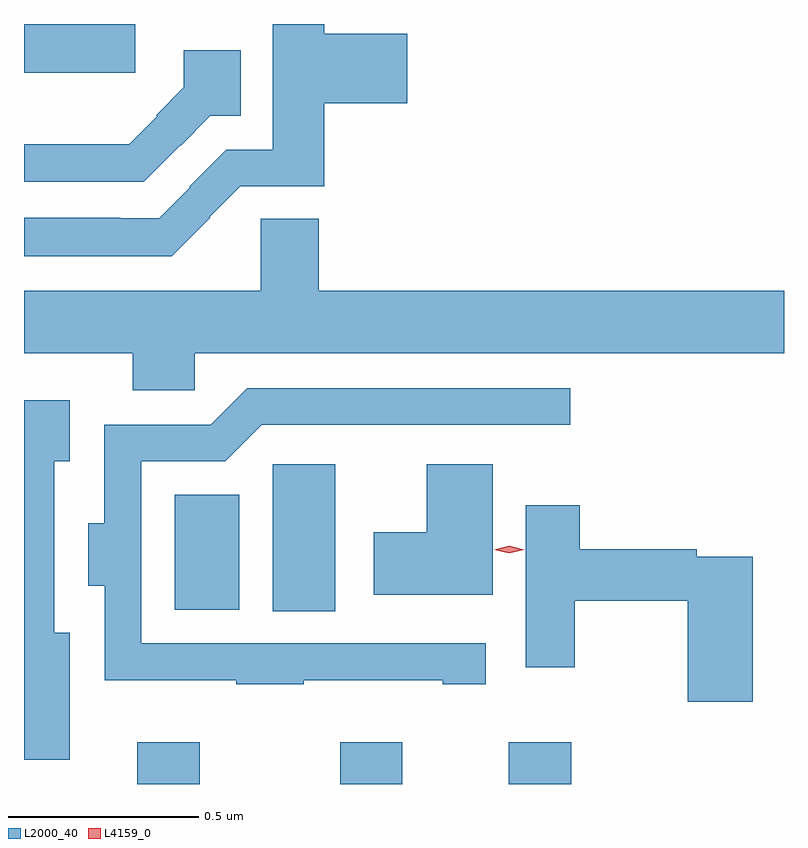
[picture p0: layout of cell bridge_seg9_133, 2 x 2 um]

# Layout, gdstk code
import gdstk
lib = gdstk.Library(unit=1e-6, precision=1e-09)
def R(c, l, rs):  # rectangles x0, y0, x1, y1
    for r in rs: c.add(gdstk.rectangle(r[:2], r[2:], *l))
def P(c, l, *ps):  # polygons
    for p in ps: c.add(gdstk.Polygon(p, *l))
L2000_40 = (2000, 40)
L4159_0 = (4159, 0)

bridge_seg9_133 = lib.new_cell('bridge_seg9_133')
R(bridge_seg9_133, L2000_40, [(492.899,1215.266,493.063,1215.376), (493.433,1215.266,493.597,1215.376), (493.877,1215.266,494.041,1215.376), (493.256,1215.721,493.42,1216.108), (492.998,1215.725,493.168,1216.027), (492.601,1217.138,492.894,1217.266)])
P(bridge_seg9_133, L2000_40, [(493.091,1216.756),(493.089,1216.758),(493.17,1216.839),(493.391,1216.839),(493.391,1217.057),(493.609,1217.057),(493.609,1217.24),(493.391,1217.24),(493.391,1217.266),(493.256,1217.266),(493.256,1216.935),(493.133,1216.935),(493.036,1216.838),(493.038,1216.836),(492.957,1216.755),(492.854,1216.755),(492.854,1216.756),(492.601,1216.756),(492.601,1216.655),(492.99,1216.655)],
  [(493.012,1216.947),(493.013,1216.946),(493.091,1217.024),(493.171,1217.024),(493.171,1217.197),(493.022,1217.197),(493.022,1217.099),(492.949,1217.026),(492.952,1217.023),(492.878,1216.949),(492.601,1216.949),(492.601,1216.851),(492.916,1216.851)],
  [(493.05,1216.4),(494.601,1216.4),(494.601,1216.564),(493.376,1216.564),(493.376,1216.754),(493.224,1216.754),(493.224,1216.564),(492.601,1216.564),(492.601,1216.4),(492.887,1216.4),(492.887,1216.302),(493.05,1216.302)],
  [(493.337,1215.539),(493.703,1215.539),(493.703,1215.528),(493.816,1215.528),(493.816,1215.636),(492.909,1215.636),(492.909,1216.116),(493.131,1216.116),(493.227,1216.212),(494.038,1216.212),(494.038,1216.308),(493.188,1216.308),(493.092,1216.212),(492.812,1216.212),(492.812,1215.952),(492.77,1215.952),(492.77,1215.788),(492.813,1215.788),(492.813,1215.539),(493.159,1215.539),(493.159,1215.528),(493.337,1215.528)],
  [(492.721,1215.664),(492.681,1215.664),(492.681,1216.115),(492.721,1216.115),(492.721,1216.276),(492.601,1216.276),(492.601,1215.33),(492.721,1215.33)],
  [(493.834,1216.108),(493.661,1216.108),(493.661,1215.928),(493.521,1215.928),(493.521,1215.764),(493.834,1215.764)],
  [(494.519,1215.864),(494.372,1215.864),(494.372,1215.884),(494.063,1215.884),(494.063,1216),(493.922,1216),(493.922,1215.573),(494.05,1215.573),(494.05,1215.748),(494.348,1215.748),(494.348,1215.483),(494.519,1215.483)])
P(bridge_seg9_133, L4159_0, [(493.878,1215.873),(493.838,1215.883),(493.838,1215.883),(493.838,1215.883),(493.878,1215.893),(493.918,1215.883),(493.918,1215.883),(493.918,1215.883)])

lib.write_gds('bridge_seg9_133.gds')
